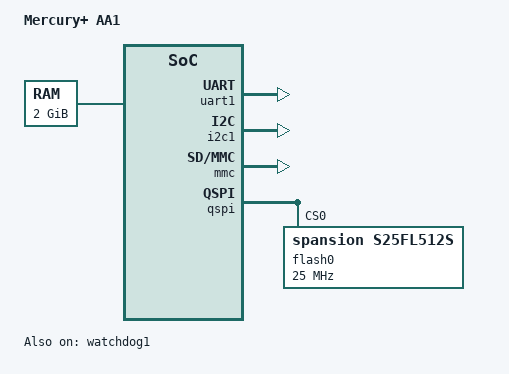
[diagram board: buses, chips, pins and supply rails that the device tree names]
/dts-v1/;
#include "socfpga_arria10.dtsi"
#include "socfpga_arria10-u-boot.dtsi"
#include "socfpga_arria10_socdk_qspi_handoff.h"
#include "socfpga_arria10-handoff.dtsi"
#include "socfpga_arria10_handoff_u-boot.dtsi"

/ {

	model = "Mercury+ AA1";
	compatible = "altr,socfpga-arria10", "altr,socfpga";

	aliases {
		serial0 = &uart1;
		spi0 = &qspi;
		i2c0 = &i2c1;
	};

	chosen {
		stdout-path = "serial0:115200n8";
	};

	memory@0 {
		name = "memory";
		device_type = "memory";
		reg = <0x0 0x80000000>; /* 2GB */
	};

	soc {
		clkmgr@ffd04000 {
			clocks {
				osc1 {
					clock-frequency = <33330000>;
				};
			};
		};
	};

	fs_loader0: fs-loader {
		u-boot,dm-pre-reloc;
		compatible = "u-boot,fs-loader";
		sfconfig = <0 0 50000000 3>;
	};
};

&fpga_mgr {
	u-boot,dm-pre-reloc;
	firmware-loader = <&fs_loader0>;
	altr,bitstream = "300000";
};

&l4_main_clk {
	u-boot,dm-pre-reloc;
};

&qspi_clk {
	u-boot,dm-pre-reloc;
};

&uart1 {
	u-boot,dm-pre-reloc;
	status = "okay";
};

&i2c1 {
	/* Max value set according to HW spec */
	i2c-scl-falling-time-ns = <300>;
	status = "okay";
};

&mmc {
	u-boot,dm-pre-reloc;
	status = "okay";
};

&qspi {
	u-boot,dm-pre-reloc;
	status = "okay";

	flash0: s25fl512s@0 {
		u-boot,dm-pre-reloc;
		#address-cells = <1>;
		#size-cells = <1>;
		compatible = "spansion,s25fl512s", "jedec,spi-nor";
		reg = <0>;
		spi-max-frequency = <25000000>;

		page-size = <256>;
		block-size = <16>; /* 2^16, 64KB */
		cdns,page-size = <256>;
		cdns,block-size = <16>;
		cdns,tshsl-ns = <200>;
		cdns,tsd2d-ns = <255>;
		cdns,tchsh-ns = <20>;
		cdns,tslch-ns = <20>;
	};
};

&watchdog1 {
	u-boot,dm-pre-reloc;
	status = "okay";
};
